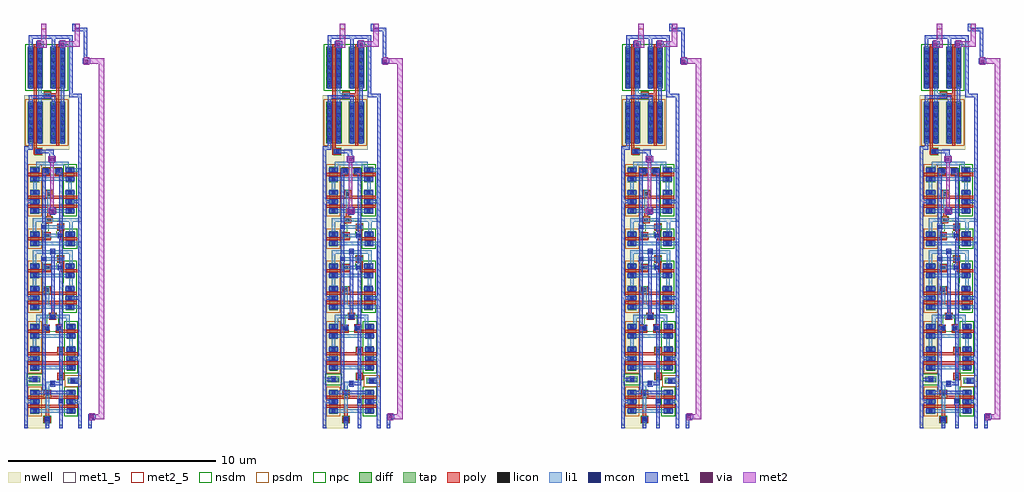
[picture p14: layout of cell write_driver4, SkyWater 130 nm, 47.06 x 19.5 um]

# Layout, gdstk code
import gdstk
lib = gdstk.Library(unit=1e-6, precision=5e-09)
def R(c, l, rs):  # rectangles x0, y0, x1, y1
    for r in rs: c.add(gdstk.rectangle(r[:2], r[2:], *l))
def A(c, l, x, y, w, h, nx, ny, dx, dy):  # array of equal rectangles
    R(c, l, [(x+i*dx, y+j*dy, x+i*dx+w, y+j*dy+h) for i in range(nx) for j in range(ny)])
nwell = (64, 20)
diff = (65, 20)
tap = (65, 44)
poly = (66, 20)
licon = (66, 44)
li1 = (67, 20)
mcon = (67, 44)
met1_5 = (68, 5)
met1 = (68, 20)
via = (68, 44)
met2_5 = (69, 5)
met2 = (69, 20)
nsdm = (93, 44)
psdm = (94, 20)
npc = (95, 20)

write_driver_f = lib.new_cell('write_driver_f')
R(write_driver_f, nwell, [(0,0,1.04,13.43), (0,13.43,2.18,16.05)])
R(write_driver_f, diff, [(0.31,0.695,0.73,1.865), (2.055,0.695,2.475,1.865), (0.31,2.78,0.73,3.95), (2.055,2.78,2.475,3.95), (0.31,4.31,0.73,5.04), (2.055,4.31,2.475,5.04), (0.31,5.7,0.73,6.87), (2.005,5.7,2.425,6.87), (0.31,7.23,0.73,7.96), (2.01,7.23,2.43,7.96), (0.31,8.77,0.73,9.5), (2.02,8.77,2.44,9.5), (0.31,10.34,0.73,11.51), (2.01,10.34,2.43,11.51), (0.31,11.87,0.73,12.6), (2.01,11.87,2.43,12.6), (0.18,13.74,0.91,15.74), (1.27,13.74,2,15.74), (0.18,16.39,0.91,18.39), (1.27,16.39,2,18.39)])
R(write_driver_f, tap, [(2.1,2.135,2.64,2.425), (0.25,2.21,0.79,2.5)])
R(write_driver_f, poly, [(0.96,0.255,1.29,0.555), (1.04,0.555,1.21,0.985), (0.18,0.985,2.605,1.135), (0.18,1.425,2.605,1.575), (0.96,1.575,1.29,1.825), (1.615,2.335,1.945,2.665), (1.695,2.665,1.865,3.07), (0.18,3.07,2.605,3.22), (0.18,3.51,2.605,3.66), (1.615,3.66,1.945,3.91), (0.18,4.6,1.25,4.75), (1.53,4.6,2.605,4.75), (0.92,4.75,1.25,5), (1.53,4.75,1.865,5.005), (1.225,5.23,1.555,5.56), (1.305,5.56,1.475,5.99), (0.18,5.99,2.555,6.14), (0.18,6.43,2.555,6.58), (0.97,6.58,1.3,6.83), (0.18,7.52,1.3,7.67), (1.78,7.52,2.56,7.67), (0.97,7.67,1.3,7.92), (1.78,7.67,1.93,8), (1.6,8,1.93,8.33), (0.18,9.06,1.3,9.21), (1.74,9.06,2.57,9.21), (0.97,9.21,1.3,9.46), (1.74,9.21,1.89,9.54), (1.6,9.54,1.93,9.87), (1.035,9.88,1.37,10.21), (1.115,10.21,1.29,10.63), (0.18,10.63,2.56,10.78), (0.18,11.07,2.56,11.22), (1.035,11.22,1.37,11.47), (0.18,12.16,1.25,12.31), (1.48,12.16,2.56,12.31), (0.92,12.31,1.25,12.56), (1.48,12.31,1.81,12.56), (0.47,13.18,0.87,13.51), (0.47,13.51,0.62,18.52), (1.56,13.61,1.71,15.975), (0.965,15.895,1.3,15.975), (0.965,15.975,1.71,16.15), (0.965,16.15,1.3,16.235), (1.56,16.15,1.71,18.52)])
A(write_driver_f, licon, 0.435, 0.755, 0.17, 0.17, 1, 3, 0, 0.44)
A(write_driver_f, licon, 2.18, 0.755, 0.17, 0.17, 1, 3, 0, 0.44)
A(write_driver_f, licon, 0.435, 2.84, 0.17, 0.17, 1, 3, 0, 0.44)
A(write_driver_f, licon, 2.18, 2.84, 0.17, 0.17, 1, 3, 0, 0.44)
A(write_driver_f, licon, 0.435, 5.76, 0.17, 0.17, 1, 3, 0, 0.44)
A(write_driver_f, licon, 2.13, 5.76, 0.17, 0.17, 1, 3, 0, 0.44)
A(write_driver_f, licon, 0.435, 10.4, 0.17, 0.17, 1, 3, 0, 0.44)
A(write_driver_f, licon, 2.135, 10.4, 0.17, 0.17, 1, 3, 0, 0.44)
A(write_driver_f, licon, 0.24, 13.805, 0.17, 0.17, 1, 6, 0, 0.34)
A(write_driver_f, licon, 0.68, 13.805, 0.17, 0.17, 1, 6, 0, 0.34)
A(write_driver_f, licon, 1.33, 13.805, 0.17, 0.17, 1, 6, 0, 0.34)
A(write_driver_f, licon, 1.77, 13.805, 0.17, 0.17, 1, 6, 0, 0.34)
A(write_driver_f, licon, 0.24, 16.455, 0.17, 0.17, 1, 6, 0, 0.34)
A(write_driver_f, licon, 0.68, 16.455, 0.17, 0.17, 1, 6, 0, 0.34)
A(write_driver_f, licon, 1.33, 16.455, 0.17, 0.17, 1, 6, 0, 0.34)
A(write_driver_f, licon, 1.77, 16.455, 0.17, 0.17, 1, 6, 0, 0.34)
R(write_driver_f, licon, [(1.04,0.335,1.21,0.505), (1.04,1.575,1.21,1.745), (2.285,2.195,2.455,2.365), (0.435,2.27,0.605,2.44), (1.695,2.415,1.865,2.585), (1.695,3.66,1.865,3.83), (0.435,4.37,0.605,4.54), (2.18,4.37,2.35,4.54), (1,4.75,1.17,4.92), (1.61,4.75,1.78,4.92), (0.435,4.81,0.605,4.98), (2.18,4.81,2.35,4.98), (1.305,5.31,1.475,5.48), (1.05,6.58,1.22,6.75), (0.435,7.29,0.605,7.46), (2.135,7.29,2.305,7.46), (1.05,7.67,1.22,7.84), (0.435,7.73,0.605,7.9), (2.135,7.73,2.305,7.9), (1.68,8.08,1.85,8.25), (0.435,8.83,0.605,9), (2.145,8.83,2.315,9), (1.05,9.21,1.22,9.38), (0.435,9.27,0.605,9.44), (2.145,9.27,2.315,9.44), (1.68,9.62,1.85,9.79), (1.115,9.96,1.285,10.13), (1.115,11.22,1.285,11.39), (0.435,11.93,0.605,12.1), (2.135,11.93,2.305,12.1), (1,12.31,1.17,12.48), (1.56,12.31,1.73,12.48), (0.435,12.37,0.605,12.54), (2.135,12.37,2.305,12.54), (0.62,13.26,0.79,13.43), (1.045,15.975,1.215,16.145)])
R(write_driver_f, li1, [(1.04,0.255,1.21,0.585), (0.29,0.755,2.495,0.925), (1.04,0.925,1.21,2.065), (0.29,1.195,0.75,1.365), (1.695,1.195,1.865,2.665), (2.035,1.195,2.495,1.365), (0.29,1.635,0.75,1.805), (2.035,1.635,2.495,1.805), (1.04,2.065,1.475,2.235), (2.14,2.195,2.6,2.365), (0.29,2.27,0.75,2.44), (0.29,2.84,2.495,3.01), (1.695,3.01,1.865,3.91), (0.29,3.28,0.75,3.45), (2.035,3.28,2.495,3.45), (0.29,3.72,0.75,3.89), (2.035,3.72,2.495,3.89), (0.43,3.89,0.6,4.37), (2.175,3.89,2.345,4.37), (0.29,4.37,2.495,4.54), (0.92,4.75,1.25,4.92), (1.53,4.75,1.865,4.92), (0.29,4.81,0.75,4.98), (2.035,4.81,2.495,4.98), (0.58,4.98,0.75,5.31), (2.035,4.98,2.205,5.31), (0.58,5.31,2.205,5.48), (0.29,5.76,2.79,5.93), (1.05,5.93,1.22,6.83), (2.62,5.93,2.79,8.83), (0.29,6.2,0.75,6.37), (1.985,6.2,2.445,6.37), (0.29,6.64,0.75,6.81), (1.985,6.64,2.445,6.81), (0.43,6.81,0.6,7.29), (2.175,6.81,2.345,7.29), (0.29,7.29,2.45,7.46), (0.97,7.67,1.82,7.84), (0.29,7.73,0.75,7.9), (1.99,7.73,2.45,7.9), (0.43,7.9,0.6,8.42), (2.19,7.9,2.36,8.42), (0.87,8.08,1.93,8.25), (0.43,8.42,2.36,8.59), (0.29,8.83,2.79,9), (0.97,9.21,1.825,9.38), (0.29,9.27,0.75,9.44), (2,9.27,2.46,9.44), (0.43,9.44,0.6,9.96), (2.19,9.44,2.36,9.96), (0.87,9.62,1.93,9.79), (0.43,9.96,2.79,10.13), (2.62,10.13,2.79,12.37), (0.29,10.4,2.45,10.57), (1.115,10.57,1.29,11.47), (0.29,10.84,0.75,11.01), (1.99,10.84,2.45,11.01), (0.29,11.28,0.75,11.45), (1.99,11.28,2.45,11.45), (0.435,11.45,0.605,11.93), (2.14,11.45,2.31,11.93), (0.29,11.93,2.45,12.1), (0.92,12.31,1.25,12.48), (1.48,12.31,1.81,12.48), (0.29,12.37,0.75,12.54), (1.99,12.37,2.79,12.54), (0.58,12.54,0.75,12.675), (1.99,12.54,2.165,12.675), (0.58,12.675,2.165,12.845), (0.54,13.26,0.87,13.43), (0.24,13.72,0.41,15.76), (0.68,13.72,0.85,15.975), (1.33,13.72,1.5,15.76), (1.77,13.72,1.94,15.76), (0.68,15.975,1.3,16.15), (0.68,16.15,0.85,18.41), (0.24,16.37,0.41,18.41), (1.33,16.37,1.5,18.41), (1.77,16.37,1.94,18.41)])
A(write_driver_f, mcon, 0.435, 0.755, 0.17, 0.17, 1, 3, 0, 0.44)
A(write_driver_f, mcon, 2.18, 0.755, 0.17, 0.17, 1, 3, 0, 0.44)
A(write_driver_f, mcon, 0.435, 2.84, 0.17, 0.17, 1, 3, 0, 0.44)
A(write_driver_f, mcon, 2.18, 2.84, 0.17, 0.17, 1, 3, 0, 0.44)
A(write_driver_f, mcon, 0.435, 5.76, 0.17, 0.17, 1, 3, 0, 0.44)
A(write_driver_f, mcon, 2.13, 5.76, 0.17, 0.17, 1, 3, 0, 0.44)
A(write_driver_f, mcon, 0.435, 10.4, 0.17, 0.17, 3, 1, 0.85, 0)
A(write_driver_f, mcon, 0.24, 13.935, 0.17, 0.17, 1, 5, 0, 0.36)
A(write_driver_f, mcon, 0.68, 13.935, 0.17, 0.17, 1, 5, 0, 0.36)
A(write_driver_f, mcon, 1.33, 13.935, 0.17, 0.17, 1, 5, 0, 0.36)
A(write_driver_f, mcon, 1.77, 13.935, 0.17, 0.17, 1, 5, 0, 0.36)
A(write_driver_f, mcon, 0.24, 16.585, 0.17, 0.17, 1, 5, 0, 0.36)
A(write_driver_f, mcon, 0.68, 16.585, 0.17, 0.17, 1, 5, 0, 0.36)
A(write_driver_f, mcon, 1.33, 16.585, 0.17, 0.17, 1, 5, 0, 0.36)
A(write_driver_f, mcon, 1.77, 16.585, 0.17, 0.17, 1, 5, 0, 0.36)
R(write_driver_f, mcon, [(1.04,0.335,1.21,0.505), (1.695,1.195,1.865,1.365), (1.305,2.065,1.475,2.235), (2.285,2.195,2.455,2.365), (0.435,2.27,0.605,2.44), (0.435,4.37,0.605,4.54), (2.18,4.37,2.35,4.54), (1,4.75,1.17,4.92), (1.61,4.75,1.78,4.92), (0.435,4.81,0.605,4.98), (2.18,4.81,2.35,4.98), (1.305,5.31,1.475,5.48), (0.435,7.29,0.605,7.46), (2.135,7.29,2.305,7.46), (1.65,7.67,1.82,7.84), (0.435,7.73,0.605,7.9), (2.135,7.73,2.305,7.9), (0.87,8.08,1.04,8.25), (1.305,8.42,1.475,8.59), (0.435,8.83,0.605,9), (2.145,8.83,2.315,9), (1.655,9.21,1.825,9.38), (0.435,9.27,0.605,9.44), (2.145,9.27,2.315,9.44), (0.87,9.62,1.04,9.79), (0.435,10.84,0.605,11.01), (2.135,10.84,2.305,11.01), (0.435,11.28,0.605,11.45), (2.135,11.28,2.305,11.45), (0.435,11.93,0.605,12.1), (2.135,11.93,2.305,12.1), (1,12.31,1.17,12.48), (1.56,12.31,1.73,12.48), (0.435,12.37,0.605,12.54), (2.135,12.37,2.305,12.54), (0.62,13.26,0.79,13.43)])
R(write_driver_f, met1_5, [(0,0,0.17,0.175), (1.04,0,1.21,0.175), (1.695,0,1.865,0.175), (2.62,0,2.79,0.175), (3.1,0,3.27,0.175)])
R(write_driver_f, met1, [(0,0,0.17,1.195), (1.04,0,1.21,0.275), (1.695,0,1.865,1.135), (2.62,0,2.79,1.195), (3.1,0,3.27,0.425), (1.01,0.275,1.24,0.565), (3.1,0.425,3.46,0.685), (0.31,0.725,0.73,0.955), (2.055,0.725,2.475,0.955), (1.665,1.135,1.895,1.425), (0.31,1.165,0.73,1.195), (2.055,1.165,2.475,1.195), (0,1.195,0.73,1.365), (2.055,1.195,2.79,1.365), (0,1.365,0.17,2.27), (0.31,1.365,0.73,1.395), (2.055,1.365,2.475,1.395), (2.62,1.365,2.79,2.135), (0.31,1.605,0.73,1.635), (2.055,1.605,2.475,1.635), (0.31,1.635,2.475,1.805), (0.31,1.805,0.73,1.835), (0.87,1.805,1.04,4.69), (2.055,1.805,2.475,1.835), (1.275,2.005,1.505,2.065), (1.275,2.065,1.865,2.235), (2.255,2.135,2.79,2.425), (0.405,2.21,0.635,2.27), (1.275,2.235,1.505,2.295), (1.695,2.235,1.865,4.69), (0,2.27,0.635,2.44), (2.62,2.425,2.79,3.28), (0,2.44,0.17,3.28), (0.405,2.44,0.635,2.5), (0.31,2.81,0.73,3.04), (2.055,2.81,2.475,3.04), (0.31,3.25,0.73,3.28), (2.055,3.25,2.475,3.28), (0,3.28,0.73,3.45), (2.055,3.28,2.79,3.45), (0,3.45,0.17,6.2), (0.31,3.45,0.73,3.48), (2.055,3.45,2.475,3.48), (2.62,3.45,2.79,6.2), (0.31,3.69,0.73,3.92), (2.055,3.69,2.475,3.92), (0.31,4.34,0.73,4.57), (2.055,4.34,2.475,4.57), (0.87,4.69,1.2,4.98), (1.58,4.69,1.865,4.98), (0.31,4.78,0.73,5.01), (2.055,4.78,2.475,5.01), (0.87,4.98,1.04,8.02), (1.695,4.98,1.865,7.61), (1.275,5.25,1.505,5.54), (1.305,5.54,1.475,8.36), (0.31,5.73,0.73,5.96), (2.005,5.73,2.425,5.96), (0.31,6.17,0.73,6.2), (2.005,6.17,2.425,6.2), (0,6.2,0.73,6.37), (2.005,6.2,2.79,6.37), (0,6.37,0.17,10.84), (0.31,6.37,0.73,6.4), (2.005,6.37,2.425,6.4), (2.625,6.37,2.79,9.605), (0.31,6.61,0.73,6.84), (2.005,6.61,2.425,6.84), (0.31,7.26,0.73,7.49), (2.01,7.26,2.43,7.49), (1.62,7.61,1.865,7.9), (0.31,7.7,0.73,7.93), (2.01,7.7,2.43,7.93), (1.695,7.9,1.865,9.15), (0.84,8.02,1.07,8.31), (0.87,8.31,1.04,9.56), (1.275,8.36,1.505,8.65), (0.31,8.8,0.73,9.03), (2.02,8.8,2.44,9.03), (1.625,9.15,1.865,9.44), (0.31,9.24,0.73,9.47), (2.02,9.24,2.44,9.47), (1.695,9.44,1.865,12.245), (0.84,9.56,1.07,9.85), (2.62,9.605,2.79,10.84), (0.87,9.85,1.04,12.25), (1.24,10.305,1.5,10.665), (0.31,10.37,0.73,10.6), (2.01,10.37,2.43,10.6), (0.31,10.81,0.73,10.84), (2.01,10.81,2.43,10.84), (0,10.84,0.73,11.01), (2.01,10.84,2.79,11.01), (0,11.01,0.17,13.43), (0.31,11.01,0.73,11.04), (2.01,11.01,2.43,11.04), (2.62,11.01,2.79,11.82), (0.31,11.25,0.73,11.48), (2.01,11.25,2.43,11.48), (2.625,11.82,2.79,13.43), (0.31,11.9,0.73,12.13), (2.01,11.9,2.43,12.13), (1.52,12.245,1.865,12.54), (0.87,12.25,1.2,12.54), (0.31,12.34,0.73,12.57), (2.01,12.34,2.43,12.57), (1.22,12.795,1.48,13.155), (1.22,13.155,1.43,13.26), (0.56,13.23,0.85,13.26), (0.56,13.26,1.43,13.43), (0,13.43,0.41,13.6), (0.56,13.43,0.85,13.46), (2.625,13.43,2.795,15.955), (0.235,13.6,0.41,13.74), (0.21,13.74,0.44,15.74), (0.65,13.74,0.88,15.74), (1.3,13.74,1.53,15.74), (1.74,13.74,1.97,15.74), (0.235,15.74,0.41,15.88), (1.33,15.74,1.505,15.88), (1.77,15.74,1.94,16.39), (0.235,15.88,1.505,16.05), (2.175,15.955,2.795,16.125), (2.175,16.125,2.345,18.79), (0.21,16.39,0.44,18.39), (0.65,16.39,0.88,18.39), (1.3,16.39,1.53,18.39), (1.74,16.39,1.97,18.39), (2.84,17.57,3.2,17.83), (2.89,17.83,3.06,19.135), (0.24,18.39,0.41,18.79), (0.585,18.39,0.945,18.65), (1.33,18.39,1.5,18.79), (1.675,18.39,2.035,18.65), (0.24,18.79,2.345,18.96), (2.315,19.135,3.06,19.305), (2.315,19.305,2.485,19.505)])
R(write_driver_f, via, [(3.205,0.48,3.355,0.63), (1.295,10.41,1.445,10.56), (1.275,12.9,1.425,13.05), (2.945,17.625,3.095,17.775), (0.69,18.445,0.84,18.595), (1.78,18.445,1.93,18.595)])
R(write_driver_f, met2_5, [(0.82,19.245,1.08,19.505), (2.44,19.245,2.7,19.505)])
R(write_driver_f, met2, [(3.15,0.375,3.41,0.425), (3.15,0.425,3.86,0.685), (3.15,0.685,3.41,0.735), (3.6,0.685,3.86,17.57), (1.19,10.355,1.55,10.615), (1.265,10.615,1.435,12.845), (1.17,12.845,1.53,13.105), (2.89,17.535,3.15,17.57), (2.89,17.57,3.86,17.83), (2.89,17.83,3.15,17.88), (0.635,18.34,1.095,18.7), (1.725,18.34,1.985,18.39), (1.725,18.39,2.7,18.65), (1.725,18.65,1.985,18.7), (2.44,18.65,2.7,19.505), (0.82,18.7,1.08,19.505)])
R(write_driver_f, nsdm, [(1.93,0.57,2.6,1.99), (0.125,2.085,0.915,2.625), (1.93,2.655,2.6,5.165), (1.88,5.575,2.55,6.995), (1.885,6.995,2.55,7.105), (1.885,7.105,2.555,8.085), (1.895,8.645,2.565,9.625), (1.885,10.215,2.555,12.725), (0.055,16.265,2.125,18.515)])
R(write_driver_f, psdm, [(0.185,0.57,0.855,1.99), (1.975,2.01,2.765,2.55), (0.185,2.655,0.855,5.165), (0.185,5.575,0.855,8.085), (0.185,8.645,0.855,9.625), (0.185,10.215,0.855,12.725), (0.055,13.615,2.125,15.865)])
R(write_driver_f, npc, [(0.94,0.235,1.31,0.605), (0.94,1.475,1.31,1.845), (1.595,2.315,1.965,2.685), (1.595,3.56,1.965,3.93), (0.9,4.65,1.88,5.02), (1.1,5.02,1.68,5.425), (1.205,5.425,1.575,5.58), (0.95,6.48,1.32,6.85), (0.95,7.57,1.32,7.67), (0.95,7.67,1.585,7.94), (1.315,7.94,1.585,7.98), (1.315,7.98,1.95,8.25), (1.58,8.25,1.95,8.35), (0.95,9.11,1.32,9.21), (0.95,9.21,1.585,9.48), (1.16,9.48,1.585,9.52), (1.16,9.52,1.95,9.86), (1.015,9.86,1.95,9.89), (1.015,9.89,1.805,10.01), (1.015,10.01,1.385,10.23), (1.015,11.12,1.385,11.49), (0.9,12.21,1.83,12.58), (0.52,13.16,0.89,13.53), (0.945,15.875,1.315,16.245)])
write_driver_f.add(gdstk.Label('DW_', (0.95,19.375), layer=69, texttype=5))
write_driver_f.add(gdstk.Label('DW', (2.57,19.375), layer=69, texttype=5))
write_driver_f.add(gdstk.Label('VDD', (0.085,0.085), layer=68, texttype=5))
write_driver_f.add(gdstk.Label('clk', (1.125,0.085), layer=68, texttype=5))
write_driver_f.add(gdstk.Label('d', (1.78,0.085), layer=68, texttype=5))
write_driver_f.add(gdstk.Label('VSS', (2.705,0.085), layer=68, texttype=5))
write_driver_f.add(gdstk.Label('SB', (3.185,0.085), layer=68, texttype=5))

write_driver4 = lib.new_cell('write_driver4')
r = gdstk.Reference(write_driver_f, (0,0)); r.repetition = gdstk.Repetition(4, 1, v1=(14.4,0), v2=(0,19.505)); write_driver4.add(r)

lib.write_gds('write_driver4.gds')
